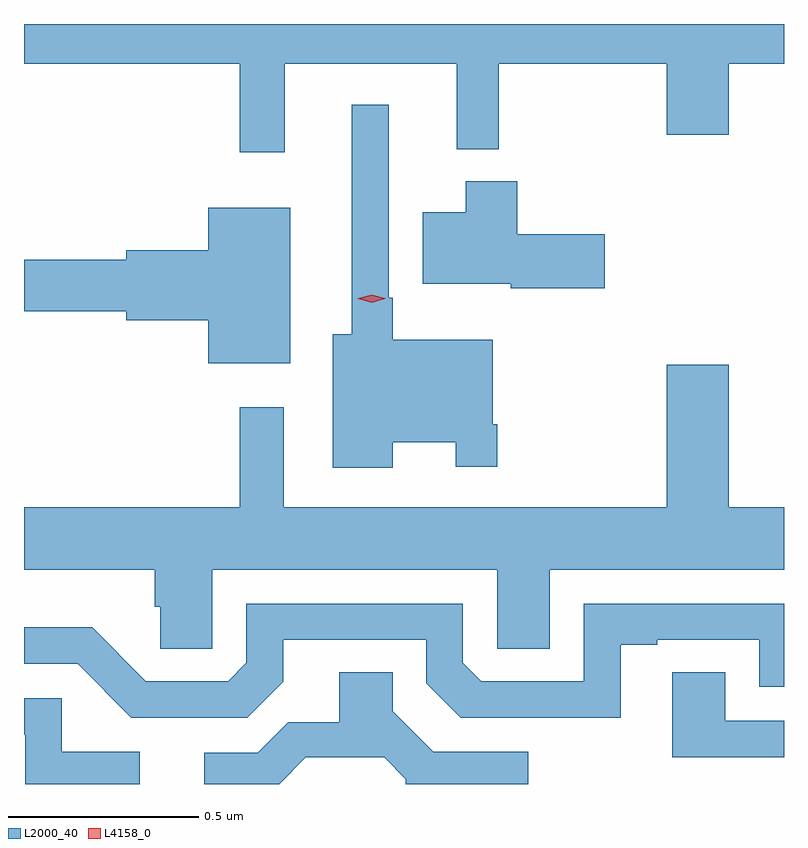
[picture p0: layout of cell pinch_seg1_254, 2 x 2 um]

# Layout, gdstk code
import gdstk
lib = gdstk.Library(unit=1e-6, precision=1e-09)
def P(c, l, *ps):  # polygons
    for p in ps: c.add(gdstk.Polygon(p, *l))
L2000_40 = (2000, 40)
L4158_0 = (4158, 0)

pinch_seg1_254 = lib.new_cell('pinch_seg1_254')
P(pinch_seg1_254, L2000_40, [(907.259,582.368),(907.712,582.368),(907.712,582.143),(907.822,582.143),(907.822,582.368),(908.264,582.368),(908.264,582.18),(908.428,582.18),(908.428,582.368),(908.573,582.368),(908.573,582.472),(906.573,582.472),(906.573,582.368),(907.141,582.368),(907.141,582.135),(907.259,582.135)],
  [(907.543,581.372),(907.709,581.372),(907.709,581.307),(907.819,581.307),(907.819,581.419),(907.806,581.419),(907.806,581.641),(907.543,581.641),(907.543,581.752),(907.533,581.752),(907.533,582.259),(907.436,582.259),(907.436,581.656),(907.385,581.656),(907.385,581.304),(907.543,581.304)],
  [(908.101,581.919),(907.871,581.919),(907.871,582.058),(907.736,582.058),(907.736,581.977),(907.622,581.977),(907.622,581.789),(907.854,581.789),(907.854,581.777),(908.101,581.777)],
  [(907.273,581.989),(907.058,581.989),(907.058,581.876),(906.842,581.876),(906.842,581.852),(906.573,581.852),(906.573,581.716),(906.842,581.716),(906.842,581.693),(907.058,581.693),(907.058,581.579),(907.273,581.579)],
  [(907.068,581.036),(907.818,581.036),(907.818,580.828),(907.957,580.828),(907.957,581.036),(908.573,581.036),(908.573,581.2),(908.428,581.2),(908.428,581.575),(908.264,581.575),(908.264,581.2),(907.257,581.2),(907.257,581.464),(907.141,581.464),(907.141,581.2),(906.573,581.2),(906.573,581.036),(906.917,581.036),(906.917,580.938),(906.931,580.938),(906.931,580.828),(907.068,580.828)],
  [(908.143,580.839),(908.239,580.839),(908.239,580.851),(908.508,580.851),(908.508,580.728),(908.573,580.728),(908.573,580.947),(908.046,580.947),(908.046,580.743),(907.776,580.743),(907.728,580.791),(907.728,580.947),(907.158,580.947),(907.158,580.791),(907.11,580.743),(906.894,580.743),(906.752,580.885),(906.573,580.885),(906.573,580.788),(906.714,580.788),(906.855,580.647),(907.161,580.647),(907.255,580.741),(907.255,580.851),(907.632,580.851),(907.632,580.737),(907.722,580.647),(907.938,580.647),(907.938,580.646),(908.143,580.646)],
  [(907.315,580.542),(907.521,580.542),(907.578,580.485),(907.578,580.472),(907.9,580.472),(907.9,580.557),(907.65,580.557),(907.543,580.664),(907.543,580.766),(907.403,580.766),(907.403,580.634),(907.268,580.634),(907.188,580.554),(907.047,580.554),(907.047,580.472),(907.245,580.472)],
  [(908.573,580.638),(908.419,580.638),(908.419,580.766),(908.279,580.766),(908.279,580.542),(908.573,580.542)],
  [(906.877,580.557),(906.672,580.557),(906.672,580.698),(906.573,580.698),(906.573,580.602),(906.576,580.602),(906.576,580.472),(906.877,580.472)])
P(pinch_seg1_254, L4158_0, [(907.488,581.739),(907.452,581.749),(907.451,581.749),(907.452,581.75),(907.488,581.759),(907.524,581.75),(907.524,581.749),(907.524,581.749)])

lib.write_gds('pinch_seg1_254.gds')
